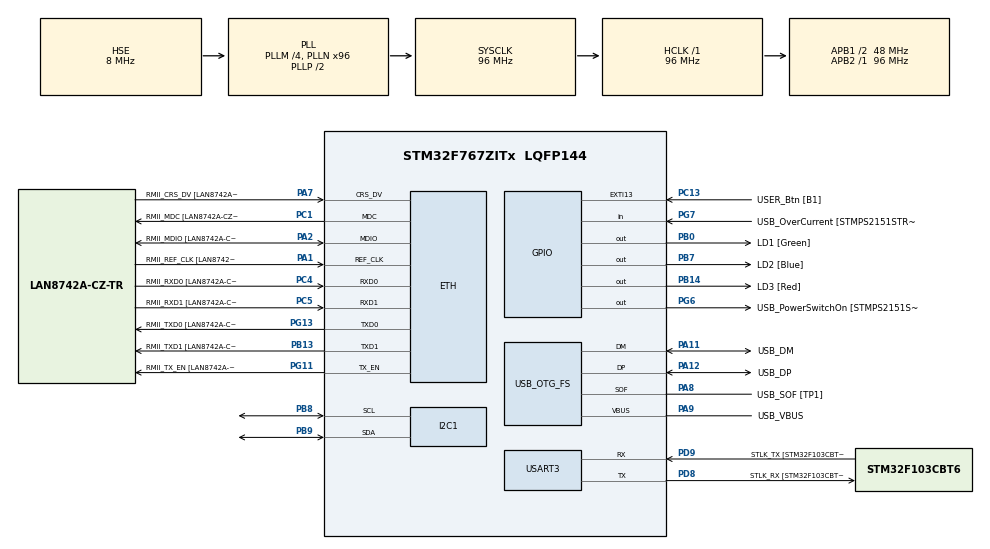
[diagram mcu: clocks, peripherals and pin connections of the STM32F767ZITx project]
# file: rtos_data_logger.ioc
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ADC1.Channel-0\#ChannelRegularConversion=ADC_CHANNEL_TEMPSENSOR
ADC1.ContinuousConvMode=ENABLE
ADC1.DMAContinuousRequests=ENABLE
ADC1.NbrOfConversionFlag=1
ADC1.Rank-0\#ChannelRegularConversion=1
ADC1.SamplingTime-0\#ChannelRegularConversion=ADC_SAMPLETIME_480CYCLES
ADC1.master=1
CORTEX_M7.default_mode_Activation=1
Dma.ADC1.0.Direction=DMA_PERIPH_TO_MEMORY
Dma.ADC1.0.FIFOMode=DMA_FIFOMODE_DISABLE
Dma.ADC1.0.Instance=DMA2_Stream0
Dma.ADC1.0.MemDataAlignment=DMA_MDATAALIGN_HALFWORD
Dma.ADC1.0.MemInc=DMA_MINC_ENABLE
Dma.ADC1.0.Mode=DMA_CIRCULAR
Dma.ADC1.0.PeriphDataAlignment=DMA_PDATAALIGN_HALFWORD
Dma.ADC1.0.PeriphInc=DMA_PINC_DISABLE
Dma.ADC1.0.Priority=DMA_PRIORITY_LOW
Dma.Request0=ADC1
ETH.MediaInterface=HAL_ETH_RMII_MODE
ETH.PHY_Name=LAN8742A_PHY_ADDRESS
ETH.PHY_Value=0
ETH.PhyAddress=0
FREERTOS.Queues01=sensor,16,16,1,Dynamic,NULL,NULL;halfReadyQueue,4,uint16_t,0,Dynamic,NULL,NULL
FREERTOS.RecursiveMutexes01=myRecursiveMutex01,Dynamic,NULL,Available
FREERTOS.Tasks01=defaultTask,24,512,StartDefaultTask,Default,NULL,Dynamic,NULL,NULL;blinkTask1,24,512,StartTask02,Default,NULL,Dynamic,NULL,NULL;blinkTask3,24,512,StartTask03,Default,NULL,Dynamic,NULL,NULL
FREERTOS.configGENERATE_RUN_TIME_STATS=1
FREERTOS.configTOTAL_HEAP_SIZE=32768
FREERTOS.configUSE_STATS_FORMATTING_FUNCTIONS=1
I2C1.Timing=0x20303E5D
LWIP.BSP.number=1
LWIP.GATEWAY_ADDRESS=192.168.000.001
LWIP.IP_ADDRESS=192.168.000.050
LWIP.LWIP_DHCP=1
LWIP.LWIP_DNS=1
LWIP.NETMASK_ADDRESS=255.255.255.000
LWIP.Version=v2.1.2_Cube
LWIP0.BSP.STBoard=false
LWIP0.BSP.api=BSP_COMPONENT_DRIVER
LWIP0.BSP.component=LAN8742
LWIP0.BSP.instance=LAN8742
LWIP0.BSP.name=Driver_PHY
LWIP0.BSP.semaphore=S_LAN8742
LWIP0.BSP.solution=LAN8742
Mcu.Family=STM32F7
Mcu.Name=STM32F767ZITx
Mcu.Package=LQFP144
NVIC.DMA2_Stream0_IRQn=true\:5\:0\:false\:false\:true\:true\:false\:true\:true
NVIC.ETH_IRQn=true\:5\:0\:false\:false\:true\:true\:false\:true\:true
NVIC.PriorityGroup=NVIC_PRIORITYGROUP_4
NVIC.TIM6_DAC_IRQn=true\:15\:0\:false\:false\:true\:false\:false\:true\:true
NVIC.TimeBase=TIM6_DAC_IRQn
NVIC.TimeBaseIP=TIM6
NVIC.USART3_IRQn=true\:5\:0\:false\:false\:true\:true\:true\:true\:true
PA1.GPIO_Label=RMII_REF_CLK [LAN8742A-CZ-TR_REFCLK0]
PA1.Mode=RMII
PA1.Signal=ETH_REF_CLK
PA10.GPIO_Label=USB_ID
PA10.Signal=USB_OTG_FS_ID
PA11.GPIO_Label=USB_DM
PA11.Mode=Device_Only
PA11.Signal=USB_OTG_FS_DM
PA12.GPIO_Label=USB_DP
PA12.Mode=Device_Only
PA12.Signal=USB_OTG_FS_DP
PA13.GPIO_Label=TMS
PA13.Mode=Serial_Wire
PA13.Signal=SYS_JTMS-SWDIO
PA14.GPIO_Label=TCK
PA14.Mode=Serial_Wire
PA14.Signal=SYS_JTCK-SWCLK
PA2.GPIO_Label=RMII_MDIO [LAN8742A-CZ-TR_MDIO]
PA2.Mode=RMII
PA2.Signal=ETH_MDIO
PA7.GPIO_Label=RMII_CRS_DV [LAN8742A-CZ-TR_CRS_DV]
PA7.Mode=RMII
PA7.Signal=ETH_CRS_DV
PA8.GPIO_Label=USB_SOF [TP1]
PA8.Mode=Activate_SOF_FS
PA8.Signal=USB_OTG_FS_SOF
PA9.GPIO_Label=USB_VBUS
PA9.Mode=Activate_VBUS
PA9.Signal=USB_OTG_FS_VBUS
PB0.GPIO_Label=LD1 [Green]
PB0.Signal=GPIO_Output
PB13.GPIO_Label=RMII_TXD1 [LAN8742A-CZ-TR_TXD1]
PB13.Mode=RMII
PB13.Signal=ETH_TXD1
PB14.GPIO_Label=LD3 [Red]
PB14.Signal=GPIO_Output
PB3.GPIO_Label=SWO
PB3.Signal=SYS_JTDO-SWO
PB7.GPIO_Label=LD2 [Blue]
PB7.Signal=GPIO_Output
PB8.Mode=I2C
PB8.Signal=I2C1_SCL
PB9.Mode=I2C
PB9.Signal=I2C1_SDA
PC1.GPIO_Label=RMII_MDC [LAN8742A-CZ-TR_MDC]
PC1.Mode=RMII
PC1.Signal=ETH_MDC
PC13.GPIO_Label=USER_Btn [B1]
PC13.Signal=GPXTI13
PC14/OSC32_IN.Mode=LSE-External-Oscillator
PC14/OSC32_IN.Signal=RCC_OSC32_IN
PC15/OSC32_OUT.Mode=LSE-External-Oscillator
PC15/OSC32_OUT.Signal=RCC_OSC32_OUT
PC4.GPIO_Label=RMII_RXD0 [LAN8742A-CZ-TR_RXD0]
PC4.Mode=RMII
PC4.Signal=ETH_RXD0
PC5.GPIO_Label=RMII_RXD1 [LAN8742A-CZ-TR_RXD1]
PC5.Mode=RMII
PC5.Signal=ETH_RXD1
PD8.GPIO_Label=STLK_RX [STM32F103CBT6_PA3]
PD8.Mode=Asynchronous
PD8.Signal=USART3_TX
PD9.GPIO_Label=STLK_TX [STM32F103CBT6_PA2]
PD9.Mode=Asynchronous
PD9.Signal=USART3_RX
PG11.GPIO_Label=RMII_TX_EN [LAN8742A-CZ-TR_TXEN]
PG11.Mode=RMII
PG11.Signal=ETH_TX_EN
PG13.GPIO_Label=RMII_TXD0 [LAN8742A-CZ-TR_TXD0]
PG13.Mode=RMII
PG13.Signal=ETH_TXD0
PG6.GPIO_Label=USB_PowerSwitchOn [STMPS2151STR_EN]
PG6.Signal=GPIO_Output
PG7.GPIO_Label=USB_OverCurrent [STMPS2151STR_FAULT]
PG7.Signal=GPIO_Input
PH0/OSC_IN.GPIO_Label=MCO [STM32F103CBT6_PA8]
PH0/OSC_IN.Mode=HSE-External-Clock-Source
PH0/OSC_IN.Signal=RCC_OSC_IN
PH1/OSC_OUT.Mode=HSE-External-Clock-Source
PH1/OSC_OUT.Signal=RCC_OSC_OUT
ProjectManager.HeapSize=0x200
ProjectManager.StackSize=0x400
ProjectManager.TargetToolchain=STM32CubeIDE
RCC.48MHZClocksFreq_Value=24000000
RCC.AHBFreq_Value=96000000
RCC.APB1CLKDivider=RCC_HCLK_DIV2
RCC.APB1Freq_Value=48000000
RCC.APB1TimFreq_Value=96000000
RCC.APB2Freq_Value=96000000
RCC.APB2TimFreq_Value=96000000
RCC.CortexFreq_Value=96000000
RCC.HCLKFreq_Value=96000000
RCC.HSE_VALUE=8000000
RCC.HSI_VALUE=16000000
RCC.PLLM=4
RCC.PLLMUL=RCC_PLL_MUL9
RCC.PLLN=96
RCC.PLLQ=4
RCC.PRESCALERUSB=RCC_USBCLKSOURCE_PLL_DIV1_5
RCC.SYSCLKFreq_VALUE=96000000
RCC.SYSCLKSource=RCC_SYSCLKSOURCE_PLLCLK
RCC.SYSCLKSourceVirtual=RCC_SYSCLKSOURCE_PLLCLK
RCC.USBFreq_Value=48000000
RCC.VCOOutputFreq_Value=192000000
TIM5.Prescaler=10799
USART3.VirtualMode-Asynchronous=VM_ASYNC
USB_OTG_FS.VirtualMode=Device_Only
VP_ADC1_TempSens_Input.Mode=IN-TempSens
VP_FREERTOS_VS_CMSIS_V2.Mode=CMSIS_V2
VP_LWIP_VS_Enabled.Mode=Enabled
VP_MBEDTLS_VS_MBEDTLS.Mode=Enabled
VP_SYS_VS_tim6.Mode=TIM6
VP_TIM5_VS_ClockSourceINT.Mode=Internal
board=NUCLEO-F767ZI

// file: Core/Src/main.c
/* USER CODE BEGIN Header */
/**
  ******************************************************************************
  * @file           : main.c
  * @brief          : Main program body
  ******************************************************************************
  * @attention
  *
  * Copyright (c) 2026 STMicroelectronics.
  * All rights reserved.
  *
  * This software is licensed under terms that can be found in the LICENSE file
  * in the root directory of this software component.
  * If no LICENSE file comes with this software, it is provided AS-IS.
  *
  ******************************************************************************
  */
/* USER CODE END Header */
#include "main.h"
#include "cmsis_os.h"
#include "mbedtls.h"

/* USER CODE BEGIN Includes */
#include <stdio.h>
#include "ringbuffer.h"
#include <stdbool.h>
#include "sensor_msg.h"
#include "mempool.h"
#include <string.h>
#include "mqtt_client_app.h"
#include "lwip.h"
/* USER CODE END Includes */

ADC_HandleTypeDef hadc1;
DMA_HandleTypeDef hdma_adc1;

I2C_HandleTypeDef hi2c1;

TIM_HandleTypeDef htim5;

UART_HandleTypeDef huart3;

PCD_HandleTypeDef hpcd_USB_OTG_FS;

/* Definitions for defaultTask */
osThreadId_t defaultTaskHandle;
const osThreadAttr_t defaultTask_attributes = {
  .name = "defaultTask",
  .stack_size = 512 * 4,
  .priority = (osPriority_t) osPriorityNormal,
};
/* Definitions for blinkTask1 */
osThreadId_t blinkTask1Handle;
const osThreadAttr_t blinkTask1_attributes = {
  .name = "blinkTask1",
  .stack_size = 512 * 4,
  .priority = (osPriority_t) osPriorityNormal,
};
/* Definitions for blinkTask3 */
osThreadId_t blinkTask3Handle;
const osThreadAttr_t blinkTask3_attributes = {
  .name = "blinkTask3",
  .stack_size = 512 * 4,
  .priority = (osPriority_t) osPriorityNormal,
};
/* Definitions for sensor */
osMessageQueueId_t sensorHandle;
const osMessageQueueAttr_t sensor_attributes = {
  .name = "sensor"
};
/* Definitions for halfReadyQueue */
osMessageQueueId_t halfReadyQueueHandle;
const osMessageQueueAttr_t halfReadyQueue_attributes = {
  .name = "halfReadyQueue"
};
/* Definitions for myRecursiveMutex01 */
osMutexId_t myRecursiveMutex01Handle;
const osMutexAttr_t myRecursiveMutex01_attributes = {
  .name = "myRecursiveMutex01",
  .attr_bits = osMutexRecursive,
};
/* USER CODE BEGIN PV */
osThreadId_t ringbufferTaskHandle;
const osThreadAttr_t ringbuffertask_attributes = {
		.name = "ringbuffertask",
		.stack_size = 512*4,
		.priority = (osPriority_t) osPriorityNormal,
};
osThreadId_t bmeSensorReadTaskHandle;
const osThreadAttr_t bmeSensorReadTaskHandle_attributes = {
		.name = "bmeSensorRead",
		.stack_size = 512*4,
		.priority = (osPriority_t) osPriorityNormal,
};

osThreadId_t adcSmaplingTaskHandle;
const osThreadAttr_t adcSmaplingTaskHandle_attributes = {
		.name = "adcSampling",
		.stack_size = 512*4,
		.priority = (osPriority_t) osPriorityNormal,
};

osThreadId_t sensoraggregatoreTaskHandle;
const osThreadAttr_t sensoraggregatoreTaskHandle_attributes = {
		.name = "sesnorAggregater",
		.stack_size = 512*4,
		.priority = (osPriority_t) osPriorityNormal,
};
/* USER CODE END PV */

void SystemClock_Config(void);
static void MPU_Config(void);
static void MX_GPIO_Init(void);
static void MX_DMA_Init(void);
static void MX_USART3_UART_Init(void);
static void MX_USB_OTG_FS_PCD_Init(void);
static void MX_TIM5_Init(void);
static void MX_ADC1_Init(void);
static void MX_I2C1_Init(void);
void StartDefaultTask(void *argument);
void StartTask02(void *argument);
void StartTask03(void *argument);

/* USER CODE BEGIN PFP */
void sensorAggregator(void *arguments);
extern void bmeSensorRead(void *arguments);
extern bool bme280init();
extern bool bme28ReadRaw(int32_t *raw_t);
void adcSampling(void *arguments);
void StartUartRxTask(void *argument);
extern int32_t bme280_compensate_T(int32_t adc_T);
extern void mqtt_app_publish_temp(int32_t);
extern void mqtt_app_start_hivemq(void);
/* USER CODE END PFP */

/* USER CODE BEGIN 0 */
#define BATCH_SAMPLES 240
char statsbuf[512];
ringbuf_t uart_ringbuffer;
uint8_t byte_received;
uint8_t length = 1;
volatile uint32_t rx_dropped =0;
volatile uint32_t queue_rx_dropped =0;
uint16_t adc_buff[512];
volatile uint8_t adc_half_ready = 0;
volatile uint32_t pool_alloc_fail = 0;
volatile uint32_t half_ready_drop = 0;
extern struct netif gnetif;
/* USER CODE END 0 */

int main(void)
{

  /* MPU Configuration--------------------------------------------------------*/
  MPU_Config();

  /* MCU Configuration--------------------------------------------------------*/

  /* Reset of all peripherals, Initializes the Flash interface and the Systick. */
  HAL_Init();

  /* Configure the system clock */
  SystemClock_Config();

  /* Initialize all configured peripherals */
  MX_GPIO_Init();
  MX_DMA_Init();
  MX_USART3_UART_Init();
  MX_USB_OTG_FS_PCD_Init();
  MX_TIM5_Init();
  MX_ADC1_Init();
  MX_I2C1_Init();
  /* Call PreOsInit function */
  MX_MBEDTLS_Init();
  /* USER CODE BEGIN 2 */
  if(HAL_ADC_Start_DMA(&hadc1, (uint32_t*)adc_buff, 512) != HAL_OK)
  {
	  Error_Handler();
  }
  if(!mempool_init())
  {
	  Error_Handler();
  }
  /* USER CODE END 2 */

  /* Init scheduler */
  osKernelInitialize();

  /* Create the recursive mutex(es) */
  /* creation of myRecursiveMutex01 */
  myRecursiveMutex01Handle = osMutexNew(&myRecursiveMutex01_attributes);

  /* Create the queue(s) */
  /* creation of sensor */
  sensorHandle = osMessageQueueNew (16, 16, &sensor_attributes);

  /* creation of halfReadyQueue */
  halfReadyQueueHandle = osMessageQueueNew (4, sizeof(uint16_t), &halfReadyQueue_attributes);

  /* Create the thread(s) */
  /* creation of defaultTask */
  defaultTaskHandle = osThreadNew(StartDefaultTask, NULL, &defaultTask_attributes);

  /* creation of blinkTask1 */
  blinkTask1Handle = osThreadNew(StartTask02, NULL, &blinkTask1_attributes);

  /* creation of blinkTask3 */
  blinkTask3Handle = osThreadNew(StartTask03, NULL, &blinkTask3_attributes);

  /* USER CODE BEGIN RTOS_THREADS */
  /* add threads, ... */
  ringbufferTaskHandle = osThreadNew(StartUartRxTask, NULL, &ringbuffertask_attributes);
  //adcSmaplingTaskHandle = osThreadNew(adcSampling, NULL, &adcSmaplingTaskHandle_attributes);
  bmeSensorReadTaskHandle = osThreadNew(bmeSensorRead, NULL, &bmeSensorReadTaskHandle_attributes);
  sensoraggregatoreTaskHandle = osThreadNew(sensorAggregator, NULL, &sensoraggregatoreTaskHandle_attributes);
  /* USER CODE END RTOS_THREADS */

  /* Start scheduler */
  osKernelStart();

  /* We should never get here as control is now taken by the scheduler */

  /* Infinite loop */
  while (1)
  {

  }
}

void SystemClock_Config(void)
{
  RCC_OscInitTypeDef RCC_OscInitStruct = {0};
  RCC_ClkInitTypeDef RCC_ClkInitStruct = {0};

  /** Configure LSE Drive Capability
  */
  HAL_PWR_EnableBkUpAccess();

  /** Configure the main internal regulator output voltage
  */
  __HAL_RCC_PWR_CLK_ENABLE();
  __HAL_PWR_VOLTAGESCALING_CONFIG(PWR_REGULATOR_VOLTAGE_SCALE3);

  /** Initializes the RCC Oscillators according to the specified parameters
  * in the RCC_OscInitTypeDef structure.
  */
  RCC_OscInitStruct.OscillatorType = RCC_OSCILLATORTYPE_HSE;
  RCC_OscInitStruct.HSEState = RCC_HSE_BYPASS;
  RCC_OscInitStruct.PLL.PLLState = RCC_PLL_ON;
  RCC_OscInitStruct.PLL.PLLSource = RCC_PLLSOURCE_HSE;
  RCC_OscInitStruct.PLL.PLLM = 4;
  RCC_OscInitStruct.PLL.PLLN = 96;
  RCC_OscInitStruct.PLL.PLLP = RCC_PLLP_DIV2;
  RCC_OscInitStruct.PLL.PLLQ = 4;
  RCC_OscInitStruct.PLL.PLLR = 2;
  if (HAL_RCC_OscConfig(&RCC_OscInitStruct) != HAL_OK)
  {
    Error_Handler();
  }

  /** Activate the Over-Drive mode
  */
  if (HAL_PWREx_EnableOverDrive() != HAL_OK)
  {
    Error_Handler();
  }

  /** Initializes the CPU, AHB and APB buses clocks
  */
  RCC_ClkInitStruct.ClockType = RCC_CLOCKTYPE_HCLK|RCC_CLOCKTYPE_SYSCLK
                              |RCC_CLOCKTYPE_PCLK1|RCC_CLOCKTYPE_PCLK2;
  RCC_ClkInitStruct.SYSCLKSource = RCC_SYSCLKSOURCE_PLLCLK;
  RCC_ClkInitStruct.AHBCLKDivider = RCC_SYSCLK_DIV1;
  RCC_ClkInitStruct.APB1CLKDivider = RCC_HCLK_DIV2;
  RCC_ClkInitStruct.APB2CLKDivider = RCC_HCLK_DIV1;

  if (HAL_RCC_ClockConfig(&RCC_ClkInitStruct, FLASH_LATENCY_3) != HAL_OK)
  {
    Error_Handler();
  }
}

static void MX_ADC1_Init(void)
{

  ADC_ChannelConfTypeDef sConfig = {0};

  /** Configure the global features of the ADC (Clock, Resolution, Data Alignment and number of conversion)
  */
  hadc1.Instance = ADC1;
  hadc1.Init.ClockPrescaler = ADC_CLOCK_SYNC_PCLK_DIV4;
  hadc1.Init.Resolution = ADC_RESOLUTION_12B;
  hadc1.Init.ScanConvMode = ADC_SCAN_DISABLE;
  hadc1.Init.ContinuousConvMode = ENABLE;
  hadc1.Init.DiscontinuousConvMode = DISABLE;
  hadc1.Init.ExternalTrigConvEdge = ADC_EXTERNALTRIGCONVEDGE_NONE;
  hadc1.Init.ExternalTrigConv = ADC_SOFTWARE_START;
  hadc1.Init.DataAlign = ADC_DATAALIGN_RIGHT;
  hadc1.Init.NbrOfConversion = 1;
  hadc1.Init.DMAContinuousRequests = ENABLE;
  hadc1.Init.EOCSelection = ADC_EOC_SINGLE_CONV;
  if (HAL_ADC_Init(&hadc1) != HAL_OK)
  {
    Error_Handler();
  }

  /** Configure for the selected ADC regular channel its corresponding rank in the sequencer and its sample time.
  */
  sConfig.Channel = ADC_CHANNEL_TEMPSENSOR;
  sConfig.Rank = ADC_REGULAR_RANK_1;
  sConfig.SamplingTime = ADC_SAMPLETIME_480CYCLES;
  if (HAL_ADC_ConfigChannel(&hadc1, &sConfig) != HAL_OK)
  {
    Error_Handler();
  }

}

static void MX_I2C1_Init(void)
{

  hi2c1.Instance = I2C1;
  hi2c1.Init.Timing = 0x20303E5D;
  hi2c1.Init.OwnAddress1 = 0;
  hi2c1.Init.AddressingMode = I2C_ADDRESSINGMODE_7BIT;
  hi2c1.Init.DualAddressMode = I2C_DUALADDRESS_DISABLE;
  hi2c1.Init.OwnAddress2 = 0;
  hi2c1.Init.OwnAddress2Masks = I2C_OA2_NOMASK;
  hi2c1.Init.GeneralCallMode = I2C_GENERALCALL_DISABLE;
  hi2c1.Init.NoStretchMode = I2C_NOSTRETCH_DISABLE;
  if (HAL_I2C_Init(&hi2c1) != HAL_OK)
  {
    Error_Handler();
  }

  /** Configure Analogue filter
  */
  if (HAL_I2CEx_ConfigAnalogFilter(&hi2c1, I2C_ANALOGFILTER_ENABLE) != HAL_OK)
  {
    Error_Handler();
  }

  /** Configure Digital filter
  */
  if (HAL_I2CEx_ConfigDigitalFilter(&hi2c1, 0) != HAL_OK)
  {
    Error_Handler();
  }

}

static void MX_TIM5_Init(void)
{

  TIM_ClockConfigTypeDef sClockSourceConfig = {0};
  TIM_MasterConfigTypeDef sMasterConfig = {0};

  htim5.Instance = TIM5;
  htim5.Init.Prescaler = 10799;
  htim5.Init.CounterMode = TIM_COUNTERMODE_UP;
  htim5.Init.Period = 4294967295;
  htim5.Init.ClockDivision = TIM_CLOCKDIVISION_DIV1;
  htim5.Init.AutoReloadPreload = TIM_AUTORELOAD_PRELOAD_DISABLE;
  if (HAL_TIM_Base_Init(&htim5) != HAL_OK)
  {
    Error_Handler();
  }
  sClockSourceConfig.ClockSource = TIM_CLOCKSOURCE_INTERNAL;
  if (HAL_TIM_ConfigClockSource(&htim5, &sClockSourceConfig) != HAL_OK)
  {
    Error_Handler();
  }
  sMasterConfig.MasterOutputTrigger = TIM_TRGO_RESET;
  sMasterConfig.MasterSlaveMode = TIM_MASTERSLAVEMODE_DISABLE;
  if (HAL_TIMEx_MasterConfigSynchronization(&htim5, &sMasterConfig) != HAL_OK)
  {
    Error_Handler();
  }

}

static void MX_USART3_UART_Init(void)
{

  huart3.Instance = USART3;
  huart3.Init.BaudRate = 115200;
  huart3.Init.WordLength = UART_WORDLENGTH_8B;
  huart3.Init.StopBits = UART_STOPBITS_1;
  huart3.Init.Parity = UART_PARITY_NONE;
  huart3.Init.Mode = UART_MODE_TX_RX;
  huart3.Init.HwFlowCtl = UART_HWCONTROL_NONE;
  huart3.Init.OverSampling = UART_OVERSAMPLING_16;
  huart3.Init.OneBitSampling = UART_ONE_BIT_SAMPLE_DISABLE;
  huart3.AdvancedInit.AdvFeatureInit = UART_ADVFEATURE_NO_INIT;
  if (HAL_UART_Init(&huart3) != HAL_OK)
  {
    Error_Handler();
  }

}

static void MX_USB_OTG_FS_PCD_Init(void)
{

  hpcd_USB_OTG_FS.Instance = USB_OTG_FS;
  hpcd_USB_OTG_FS.Init.dev_endpoints = 6;
  hpcd_USB_OTG_FS.Init.speed = PCD_SPEED_FULL;
  hpcd_USB_OTG_FS.Init.dma_enable = DISABLE;
  hpcd_USB_OTG_FS.Init.phy_itface = PCD_PHY_EMBEDDED;
  hpcd_USB_OTG_FS.Init.Sof_enable = ENABLE;
  hpcd_USB_OTG_FS.Init.low_power_enable = DISABLE;
  hpcd_USB_OTG_FS.Init.lpm_enable = DISABLE;
  hpcd_USB_OTG_FS.Init.vbus_sensing_enable = ENABLE;
  hpcd_USB_OTG_FS.Init.use_dedicated_ep1 = DISABLE;
  if (HAL_PCD_Init(&hpcd_USB_OTG_FS) != HAL_OK)
  {
    Error_Handler();
  }

}

static void MX_DMA_Init(void)
{

  /* DMA controller clock enable */
  __HAL_RCC_DMA2_CLK_ENABLE();

  /* DMA interrupt init */
  /* DMA2_Stream0_IRQn interrupt configuration */
  HAL_NVIC_SetPriority(DMA2_Stream0_IRQn, 5, 0);
  HAL_NVIC_EnableIRQ(DMA2_Stream0_IRQn);

}

static void MX_GPIO_Init(void)
{
  GPIO_InitTypeDef GPIO_InitStruct = {0};

  /* GPIO Ports Clock Enable */
  __HAL_RCC_GPIOC_CLK_ENABLE();
  __HAL_RCC_GPIOH_CLK_ENABLE();
  __HAL_RCC_GPIOA_CLK_ENABLE();
  __HAL_RCC_GPIOB_CLK_ENABLE();
  __HAL_RCC_GPIOD_CLK_ENABLE();
  __HAL_RCC_GPIOG_CLK_ENABLE();

  /*Configure GPIO pin Output Level */
  HAL_GPIO_WritePin(GPIOB, LD1_Pin|LD3_Pin|LD2_Pin, GPIO_PIN_RESET);

  /*Configure GPIO pin Output Level */
  HAL_GPIO_WritePin(USB_PowerSwitchOn_GPIO_Port, USB_PowerSwitchOn_Pin, GPIO_PIN_RESET);

  /*Configure GPIO pin : USER_Btn_Pin */
  GPIO_InitStruct.Pin = USER_Btn_Pin;
  GPIO_InitStruct.Mode = GPIO_MODE_IT_RISING;
  GPIO_InitStruct.Pull = GPIO_NOPULL;
  HAL_GPIO_Init(USER_Btn_GPIO_Port, &GPIO_InitStruct);

  /*Configure GPIO pins : LD1_Pin LD3_Pin LD2_Pin */
  GPIO_InitStruct.Pin = LD1_Pin|LD3_Pin|LD2_Pin;
  GPIO_InitStruct.Mode = GPIO_MODE_OUTPUT_PP;
  GPIO_InitStruct.Pull = GPIO_NOPULL;
  GPIO_InitStruct.Speed = GPIO_SPEED_FREQ_LOW;
  HAL_GPIO_Init(GPIOB, &GPIO_InitStruct);

  /*Configure GPIO pin : USB_PowerSwitchOn_Pin */
  GPIO_InitStruct.Pin = USB_PowerSwitchOn_Pin;
  GPIO_InitStruct.Mode = GPIO_MODE_OUTPUT_PP;
  GPIO_InitStruct.Pull = GPIO_NOPULL;
  GPIO_InitStruct.Speed = GPIO_SPEED_FREQ_LOW;
  HAL_GPIO_Init(USB_PowerSwitchOn_GPIO_Port, &GPIO_InitStruct);

  /*Configure GPIO pin : USB_OverCurrent_Pin */
  GPIO_InitStruct.Pin = USB_OverCurrent_Pin;
  GPIO_InitStruct.Mode = GPIO_MODE_INPUT;
  GPIO_InitStruct.Pull = GPIO_NOPULL;
  HAL_GPIO_Init(USB_OverCurrent_GPIO_Port, &GPIO_InitStruct);

}

/* USER CODE BEGIN 4 */
int _write(int file, char *ptr, int len)
{
	osMutexAcquire(myRecursiveMutex01Handle, osWaitForever);
	if (myRecursiveMutex01Handle == NULL)
	{
	    Error_Handler();
	}
  HAL_UART_Transmit(&huart3, (uint8_t *)ptr, len, HAL_MAX_DELAY);
  osMutexRelease(myRecursiveMutex01Handle);

  return len;
}
void HAL_UART_RxCpltCallback(UART_HandleTypeDef *huart)
{
	if(huart->Instance == USART3)
	{
		if(!rb_store(&uart_ringbuffer, byte_received))
		{
			rx_dropped++;
		}
		HAL_UART_Receive_IT(&huart3, &byte_received, length);
	}

}

void sensorAggregator(void *arguments)
{
	sensor_msg_t msg;
	osStatus_t xStatus;
	//printf("size of = %u \r\n", (unsigned)(sizeof(sensor_msg_t)));

	for(;;)
	{
		xStatus = osMessageQueueGet(sensorHandle, &msg, NULL, osWaitForever);
		if(xStatus == osOK)
		{
			switch(msg.source)
			{
				case SRC_ADC:
					if(msg.payload!=NULL)
					{
						adc_batch_t *b  = (adc_batch_t*)msg.payload;
					    printf("[%lu] ADC avg:%u min:%u max:%u\r\n",msg.timestamp, b->avg, b->min, b->max);
					    mempool_free(msg.payload);
					}
						break;
				case 2: printf("[%lu] BME temp-----: %ld.%02ld C\r\n", msg.timestamp, msg.value / 100, msg.value % 100);
						mqtt_app_publish_temp(msg.value);
						break;

				default: printf("[%lu] ?? src=%u val=%ld\r\n",   msg.timestamp, msg.source, msg.value);
			}
		}
	}
}

void bmeSensorRead(void *arguments)
{
	int32_t raw_t;
	sensor_msg_t bme_msg;
	osStatus_t xStatus;

    if (!bme280init())
    {
        printf("BME280 init FAILED\r\n");
        for(;;) osDelay(1000);          /* park forever — no sensor, nothing to do */
    }
	for(;;)
	{
		if(bme28ReadRaw(&raw_t))
		{
	        int32_t T = bme280_compensate_T(raw_t);          /* raw -> hundredths of °C */
	        //printf("T = %ld.%02ld C  (raw %ld)\r\n", T / 100, T % 100, raw_t);
	        bme_msg.source = SRC_BME;
	        bme_msg.timestamp = osKernelGetTickCount();
	        bme_msg.value = T;
	        xStatus = osMessageQueuePut(sensorHandle, &bme_msg, 0, 0);
	        if(xStatus!=osOK)
	        {
	        	printf("Failed to push into the queue \r\n");
	        }
		}
        else
        {
            printf("BME280 read FAILED\r\n");
        }
		osDelay(2000);
	}
}

void HAL_ADC_ConvHalfCpltCallback(ADC_HandleTypeDef *hadc)
{
	if(hadc->Instance == ADC1)
	{
		uint8_t which = 1;
		if(osMessageQueuePut(halfReadyQueueHandle, &which, 0, 0) != osOK)
		{
			half_ready_drop++;
		}
	}
}

void HAL_ADC_ConvCpltCallback(ADC_HandleTypeDef *hadc)
{
	if(hadc->Instance == ADC1)
	{
		uint8_t which = 2;
		if(osMessageQueuePut(halfReadyQueueHandle, &which, 0, 0) != osOK)
		{
			half_ready_drop++;
		}
	}
}

/***************************************ADC SAMPLING PINGPONG BUFFER****************************************************/
void adcSampling(void *arguments)
{
	static uint32_t batch_seq;

	uint16_t min = 0;
	uint16_t max = 0;
	uint8_t which;
	uint32_t adcSum = 0;
	sensor_msg_t adc_msg;
	osStatus_t xStatus;
	uint16_t start;
	uint16_t i = 0;
	for(;;)
	{
		osMessageQueueGet(halfReadyQueueHandle, &which, 0, osWaitForever);

		start = (which ==1)? 0:256;

		adc_batch_t *batch = (adc_batch_t*)mempool_alloc();
		if(batch == NULL)
		{
			//printf("Allocation failed %lu\r\n",pool_alloc_fail++);
			continue;
		}
		adcSum = 0;
		min = adc_buff[start];
		max = adc_buff[start];
		for(i = 0; i<BATCH_SAMPLES; i++)
		{
			adcSum = adc_buff[start+i] + adcSum;
			batch->samples[i] = adc_buff[start + i];
			if(adc_buff[start+i] < min)
			{
				min = adc_buff[i];
			}
			if(adc_buff[start + i] > max)
			{
				max = adc_buff[i];
			}
		}
		batch->max = max;
		batch->min = min;
		batch->count = BATCH_SAMPLES;
		//printf(" [count %ld] h1  %ld \r\n", osKernelGetTickCount(), (adcSum/256));
		adc_msg.source = SRC_ADC;
		adc_msg.timestamp = osKernelGetTickCount();
		//adc_msg.value = ++batch_seq;
		adc_msg.value = (uint16_t)(adcSum/BATCH_SAMPLES);
		batch->avg = adc_msg.value;
		adc_msg.payload = batch;
		xStatus = osMessageQueuePut(sensorHandle, &adc_msg, 0, 0);
		if(xStatus !=osOK)
		{
			queue_rx_dropped++;
			mempool_free(batch);
		}
	}
}
/***************************************ADC SAMPLING****************************************************/

/*******************************************UART RX CIRCULAR BUFFER****************************************************/
void StartUartRxTask(void *argument)
{

	uint8_t byte;
	char line[64];
	uint8_t index = 0;
	rb_init(&uart_ringbuffer);
	HAL_UART_Receive_IT(&huart3, &byte_received, length);

	for(;;)
	{
		if(rb_receive(&uart_ringbuffer, &byte))
		{

			if(byte == '\r' || byte == '\n')
			{
				line[index] = '\0';
				if(strcmp(line, "LED ON") == 0)
				{
					HAL_GPIO_WritePin(GPIOB, GPIO_PIN_0, GPIO_PIN_SET);
				}
				else if(strcmp(line, "LED OFF") == 0)
				{
					HAL_GPIO_WritePin(GPIOB, GPIO_PIN_0, GPIO_PIN_RESET);
				}
				else if(strcmp(line, "status") == 0)
				{
                    uint32_t freeblocks = mempool_free_count();
                    osMutexAcquire(myRecursiveMutex01Handle, osWaitForever);
                	//if (myRecursiveMutex01Handle == NULL)
                	{
                	    //Error_Handler();
                	}
                    printf("\r\n--- STATUS ---\r\n");
                    printf("uptime         : %lu s\r\n", osKernelGetTickCount() / 1000);
                    printf("pool free      : %lu / %u\r\n", freeblocks, POOL_BLOCKS);

                    if (freeblocks == 0)
                        printf("WARNING: pool exhausted (leak or consumer stall?)\r\n");

                    printf("pool alloc fail: %lu\r\n", pool_alloc_fail);
                    printf("queue drops    : %lu\r\n", queue_rx_dropped);
                    printf("half drops    : %lu\r\n", half_ready_drop);
                    printf("uart rx drops  : %lu\r\n", rx_dropped);

                    vTaskGetRunTimeStats(statsbuf);
                    printf("%s\r\n", statsbuf);
                    osMutexRelease(myRecursiveMutex01Handle);
				}
				else if(index>0)
				{
					printf("Unknown command\r\n", line);
				}

				index = 0;
			}
			else
			{
				if(index < sizeof(line) -1)
				{
					line[index] = (char)byte;
					index++;
				}

			}
		}
		else
		{
			osDelay(1000);
		}
	}
}
/*******************************************UART RX CIRCULAR BUFFER****************************************************/
/* USER CODE END 4 */

void StartDefaultTask(void *argument)
{
  /* USER CODE BEGIN 5 */
	 MX_LWIP_Init();

	 bool mqtt_started = false;

	for(;;)
	{
		MX_LWIP_Process();

		sys_check_timeouts();
		//printf("netif up: %d, dhcp state accessible: yes\r\n", netif_is_up(&gnetif));
		ethernet_link_check_state(&gnetif);
		if(netif_is_link_up(&gnetif))
		{
			printf("link : UP, IP: %s\r\n", ip4addr_ntoa(netif_ip4_addr(&gnetif)));
			if(!mqtt_started && !ip4_addr_isany(netif_ip4_addr(&gnetif)))
			{
				mqtt_app_start_hivemq();
				mqtt_started = true;
			}
		}
		else
		{
			printf("link:Down \r\n");
		}
	osDelay(10);
	}
  /* USER CODE END 5 */
}

void StartTask02(void *argument)
{
  /* USER CODE BEGIN StartTask02 */
  /* Infinite loop */
  for(;;)
  {
	//HAL_GPIO_TogglePin(GPIOB, GPIO_PIN_7);
    osDelay(150);
  }
  /* USER CODE END StartTask02 */
}

void StartTask03(void *argument)
{
  /* USER CODE BEGIN StartTask03 */
  /* Infinite loop */
  for(;;)
  {
	 //HAL_GPIO_TogglePin(GPIOB, GPIO_PIN_0);
    osDelay(150);
  }
  /* USER CODE END StartTask03 */
}

 /* MPU Configuration */

void MPU_Config(void)
{
  MPU_Region_InitTypeDef MPU_InitStruct = {0};

  /* Disables the MPU */
  HAL_MPU_Disable();

  /** Initializes and configures the Region and the memory to be protected
  */
  MPU_InitStruct.Enable = MPU_REGION_ENABLE;
  MPU_InitStruct.Number = MPU_REGION_NUMBER0;
  MPU_InitStruct.BaseAddress = 0x0;
  MPU_InitStruct.Size = MPU_REGION_SIZE_4GB;
  MPU_InitStruct.SubRegionDisable = 0x87;
  MPU_InitStruct.TypeExtField = MPU_TEX_LEVEL0;
  MPU_InitStruct.AccessPermission = MPU_REGION_NO_ACCESS;
  MPU_InitStruct.DisableExec = MPU_INSTRUCTION_ACCESS_DISABLE;
  MPU_InitStruct.IsShareable = MPU_ACCESS_SHAREABLE;
  MPU_InitStruct.IsCacheable = MPU_ACCESS_NOT_CACHEABLE;
  MPU_InitStruct.IsBufferable = MPU_ACCESS_NOT_BUFFERABLE;

  HAL_MPU_ConfigRegion(&MPU_InitStruct);
  /* Enables the MPU */
  HAL_MPU_Enable(MPU_PRIVILEGED_DEFAULT);

}

void HAL_TIM_PeriodElapsedCallback(TIM_HandleTypeDef *htim)
{
  if (htim->Instance == TIM6)
  {
    HAL_IncTick();
  }
}

void Error_Handler(void)
{
  __disable_irq();
  while (1)
  {
  }
}

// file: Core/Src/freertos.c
/* USER CODE BEGIN Header */
/**
  ******************************************************************************
  * File Name          : freertos.c
  * Description        : Code for freertos applications
  ******************************************************************************
  * @attention
  *
  * Copyright (c) 2026 STMicroelectronics.
  * All rights reserved.
  *
  * This software is licensed under terms that can be found in the LICENSE file
  * in the root directory of this software component.
  * If no LICENSE file comes with this software, it is provided AS-IS.
  *
  ******************************************************************************
  */
/* USER CODE END Header */

#include "FreeRTOS.h"
#include "task.h"
#include "main.h"

/* USER CODE BEGIN Variables */
extern TIM_HandleTypeDef htim5;
/* USER CODE END Variables */

/* Hook prototypes */
void configureTimerForRunTimeStats(void);
unsigned long getRunTimeCounterValue(void);

/* USER CODE BEGIN 1 */
/* Functions needed when configGENERATE_RUN_TIME_STATS is on */
__weak void configureTimerForRunTimeStats(void)
{
	HAL_TIM_Base_Start(&htim5);
}

__weak unsigned long getRunTimeCounterValue(void)
{
	return  __HAL_TIM_GET_COUNTER(&htim5);
}
/* USER CODE END 1 */
